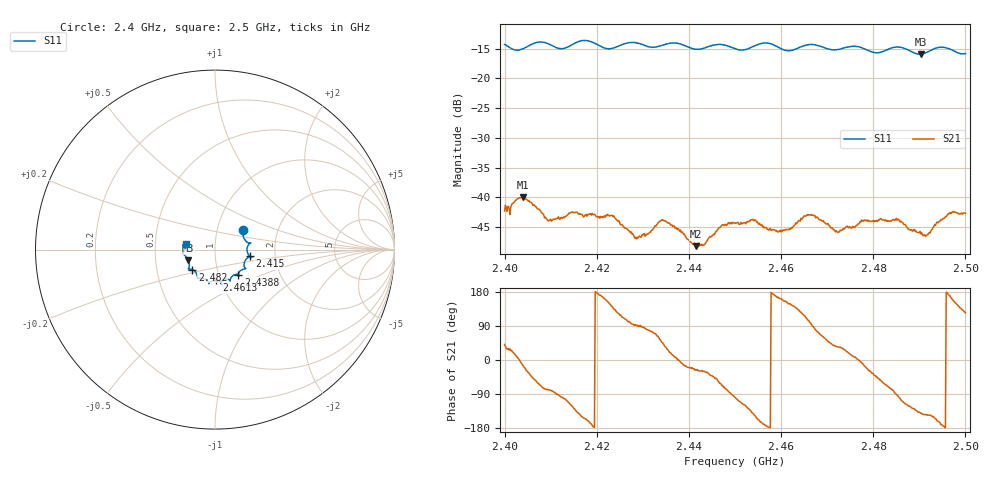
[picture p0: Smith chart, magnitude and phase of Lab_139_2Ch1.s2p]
# Hz S RI R 50
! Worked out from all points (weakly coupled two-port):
!   601 points, 2.4 GHz to 2.5 GHz, reference 50 ohm
!   highest |S21| = -40.02 dB at 2.404 GHz (marker M1); lowest = -48.3 dB at 2.4415 GHz (marker M2)
!   lowest |S11| = -15.9 dB at 2.4903 GHz (marker M3), VSWR 1.38, Z = 36.8 - j4.46 ohm
!   |S11| at or under -10 dB: start of sweep to end of sweep
!   S12 and S22 are empty: the file has one direction only
!   S11 on the Smith chart (normalised r, x): 2.4 GHz: 1.33, +0.31; 2.415 GHz: 1.47, -0.11; 2.4388 GHz: 1.24, -0.36; 2.4613 GHz: 0.96, -0.34; 2.482 GHz: 0.76, -0.17; 2.5 GHz: 0.72, +0.05
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2.4e9  0.1579 0.1119  0.00579 0.00502  0 0  0 0
2.404e9  0.1714 0.0481  0.00965 -0.00252  0 0  0 0
2.409667e9  0.1919 0.0331  0.00115 -0.00625  0 0  0 0
2.415e9  0.1924 -0.0363  -0.00455 -0.00585  0 0  0 0
2.416667e9  0.2035 -0.0441  -0.00612 -0.00371  0 0  0 0
2.4235e9  0.1619 -0.0788  -0.00509 0.00458  0 0  0 0
2.428667e9  0.1693 -0.1059  -8.78e-05 0.00445  0 0  0 0
2.433333e9  0.1319 -0.1313  0.00283 0.00542  0 0  0 0
2.438833e9  0.1298 -0.1402  0.00474 -0.00112  0 0  0 0
2.4415e9  0.1047 -0.1418  0.00348 -0.00167  0 0  0 0
2.45e9  0.0689 -0.1648  -0.000935 -0.00602  0 0  0 0
2.454e9  0.0348 -0.1832  -0.00509 -0.00394  0 0  0 0
2.456833e9  0.0385 -0.1952  -0.00549 -0.000647  0 0  0 0
2.461333e9  0.00775 -0.1714  -0.00468 0.00258  0 0  0 0
2.466667e9  -0.0349 -0.1903  -0.000231 0.00713  0 0  0 0
2.472167e9  -0.0682 -0.161  0.00416 0.00294  0 0  0 0
2.482e9  -0.1259 -0.1116  0.00338 -0.00547  0 0  0 0
2.483333e9  -0.1394 -0.1087  0.002 -0.00592  0 0  0 0
2.490333e9  -0.1491 -0.059  -0.00373 -0.00318  0 0  0 0
2.491833e9  -0.1632 -0.0381  -0.004 -0.00272  0 0  0 0
2.497e9  -0.1741 -0.0111  -0.00702 0.0022  0 0  0 0
2.5e9  -0.1589 0.0328  -0.00416 0.00604  0 0  0 0
